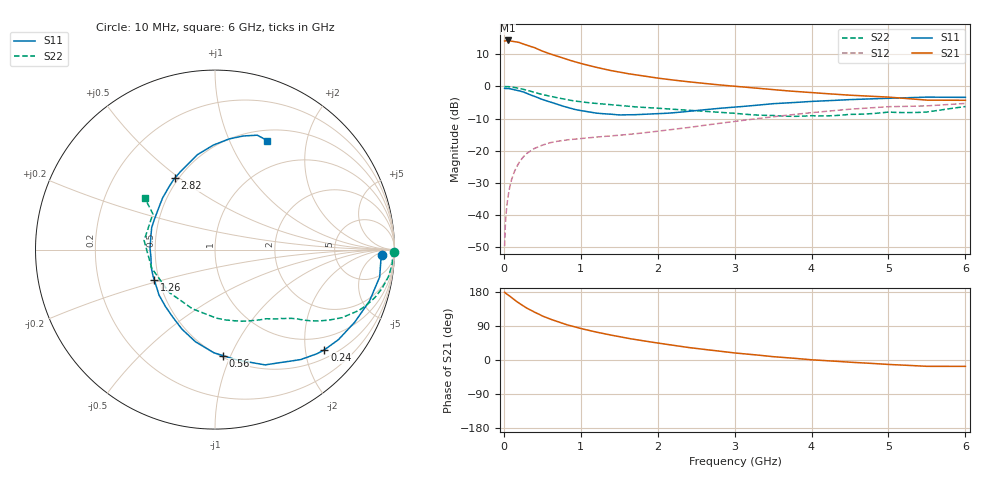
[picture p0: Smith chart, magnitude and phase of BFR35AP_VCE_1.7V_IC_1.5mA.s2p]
! Infineon Technologies  Discrete & RF Semiconductors
! BFR35AP
! VCE =  1.7 V,  IC =  1.5 mA
! Common Emitter S-Parameters:  Nov 2015
# GHz  S  MA  R  50
!  f  S11  S21  S12  S22
! GHz  MAG  ANG  MAG  ANG  MAG  ANG  MAG  ANG
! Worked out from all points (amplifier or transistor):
!   210 points, 10 MHz to 6 GHz, reference 50 ohm
!   highest |S21| = 14.2 dB at 50 MHz (marker M1)
!   |S21| within 3 dB of that: start of sweep to 470.3 MHz
!   unconditionally stable (mu >= 1): 1.237 GHz to end of sweep
!   at 185 MHz: K = 0.19, MSG = 19.0 dB, |S12| = -24.2 dB
!   at 1.52 GHz: K = 1.13, MAG = 7.6 dB, |S12| = -15.2 dB
!   at 6 GHz: K = 1.04, MAG = -0.8 dB, |S12| = -5.3 dB
!   S11 on the Smith chart (normalised r, x): 10 MHz: 23, -11; 240 MHz: 0.68, -2.41; 560 MHz: 0.51, -0.93; 1.26 GHz: 0.47, -0.18; 2.82 GHz: 0.48, +0.48; 6 GHz: 0.63, +1.39
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0.01  0.9327 -2.0  5.051 178.8  0.0033 93.0  0.9987 -0.8
0.025  0.9261 -4.7  5.081 176.0  0.009 87.7  0.9886 -2.2
0.05  0.9302 -9.4  5.152 172.3  0.0178 85.6  0.991 -4.5
0.09  0.91 -16.6  5.046 166.5  0.0319 79.9  0.9805 -7.9
0.15  0.8771 -27.5  4.938 156.6  0.0513 73.4  0.9559 -13.0
0.2  0.8512 -36.1  4.794 149.7  0.0659 68.6  0.9298 -16.7
0.24  0.8268 -42.5  4.595 144.5  0.0767 64.9  0.9064 -19.3
0.3  0.7771 -52.0  4.356 136.7  0.0911 60.6  0.8704 -22.9
0.4  0.7005 -66.5  3.981 126.1  0.1089 53.4  0.8042 -28.1
0.5  0.6257 -79.0  3.523 116.2  0.122 48.2  0.7458 -31.8
0.56  0.592 -85.8  3.317 111.5  0.1286 45.8  0.7195 -33.4
0.7  0.5247 -102.0  2.927 100.8  0.1406 41.5  0.6627 -36.8
0.8  0.4805 -112.4  2.662 94.1  0.1464 39.2  0.6278 -38.6
1.02  0.4156 -133.0  2.233 82.2  0.1552 37.0  0.5711 -42.1
1.26  0.3781 -153.8  1.901 71.3  0.1651 35.9  0.534 -45.9
1.62  0.3616 177.7  1.568 56.9  0.1792 37.0  0.4911 -51.8
2.02  0.3771 154.0  1.332 44.1  0.2022 39.1  0.4555 -59.7
2.82  0.4576 119.2  1.047 22.9  0.2679 39.5  0.3943 -82.3
3.1  0.4862 110.7  0.977 16.8  0.2954 38.0  0.3717 -93.1
4.1  0.5898 89.1  0.783 -0.6  0.3999 28.5  0.3472 -142.7
5.1  0.6575 74.6  0.666 -12.6  0.485 14.1  0.3935 168.2
6  0.6738 64.4  0.607 -16.8  0.5428 3.4  0.4856 143.7
